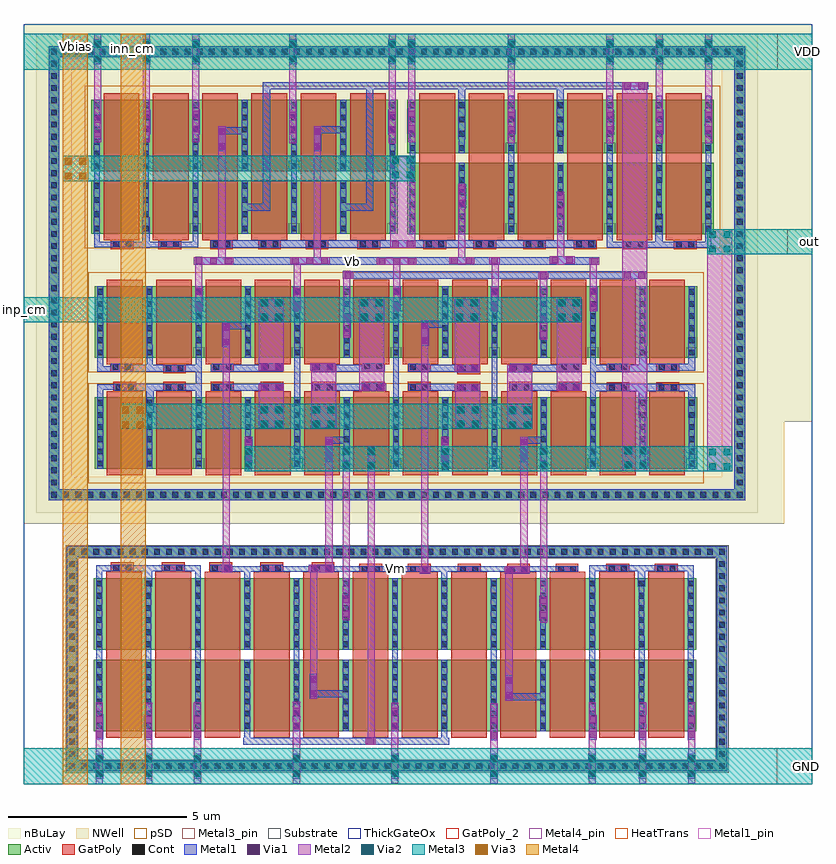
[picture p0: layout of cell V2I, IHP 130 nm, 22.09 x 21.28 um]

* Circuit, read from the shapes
.subckt V2I GND VDD Vb Vbias Vm inn_cm inp_cm out
XM1 GND GND GND GND sg13_hv_nmos w=2u l=1u m=8
XM2 out Vm GND GND sg13_hv_nmos w=2u l=1u m=8
XM3 Vm Vm GND GND sg13_hv_nmos w=2u l=1u m=8
XM4 VDD VDD VDD VDD sg13_hv_pmos w=1.5u l=1u m=4
XM5 VDD VDD VDD VDD sg13_hv_pmos w=2u l=1u m=4
XM6 Vb Vb Vb VDD sg13_hv_pmos w=2u l=1u m=8
XM7 out Vbias VDD VDD sg13_hv_pmos w=1.5u l=1u m=8
XM8 Vb Vbias VDD VDD sg13_hv_pmos w=2u l=1u m=8
XM9 out inn_cm Vb VDD sg13_hv_pmos w=2u l=1u m=8
XM10 Vm inp_cm Vb VDD sg13_hv_pmos w=2u l=1u m=8
.ends

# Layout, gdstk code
from math import pi, radians
import gdstk
lib = gdstk.Library(unit=1e-6, precision=1e-09)
def R(c, l, rs):  # rectangles x0, y0, x1, y1
    for r in rs: c.add(gdstk.rectangle(r[:2], r[2:], *l))
def A(c, l, x, y, w, h, nx, ny, dx, dy):  # array of equal rectangles
    R(c, l, [(x+i*dx, y+j*dy, x+i*dx+w, y+j*dy+h) for i in range(nx) for j in range(ny)])
def P(c, l, *ps):  # polygons
    for p in ps: c.add(gdstk.Polygon(p, *l))
Activ = (1, 0)
GatPoly = (5, 0)
GatPoly_2 = (5, 2)
Cont = (6, 0)
Metal1 = (8, 0)
Metal1_pin = (8, 2)
Metal2 = (10, 0)
pSD = (14, 0)
Via1 = (19, 0)
Via2 = (29, 0)
Metal3 = (30, 0)
Metal3_pin = (30, 2)
NWell = (31, 0)
nBuLay = (32, 0)
Substrate = (40, 0)
ThickGateOx = (44, 0)
Via3 = (49, 0)
Metal4 = (50, 0)
Metal4_pin = (50, 2)
HeatTrans = (51, 0)

pmoshv_8 = lib.new_cell('pmosHV$8')
A(pmoshv_8, Activ, 0, 0, 0.3, 0.3, 3, 1, 1.38, 0)
R(pmoshv_8, Activ, [(0,0,3.06,2)])
R(pmoshv_8, GatPoly, [(0.34,-0.18,1.34,2.18), (1.72,-0.18,2.72,2.18)])
R(pmoshv_8, GatPoly_2, [(0.34,-0.18,1.34,2.18)])
A(pmoshv_8, Cont, 0.07, 0.07, 0.16, 0.16, 3, 6, 1.38, 0.34)
A(pmoshv_8, Metal1, 0.07, 0, 0.16, 2, 3, 1, 1.38, 0)
R(pmoshv_8, Metal1_pin, [(0.07,0,0.23,2), (1.45,0,1.61,2)])
R(pmoshv_8, pSD, [(-0.18,-0.4,3.24,2.4)])
R(pmoshv_8, NWell, [(-0.62,-0.62,3.68,2.62)])
R(pmoshv_8, Substrate, [(2.76,0,3.06,0.3)])
R(pmoshv_8, ThickGateOx, [(-0.62,-0.62,3.68,2.62)])
R(pmoshv_8, HeatTrans, [(0.34,-0.18,1.34,2.18), (1.72,-0.18,2.72,2.18)])
pmoshv_8.add(gdstk.Label('pmosHV', (0.84,1), layer=63, texttype=0))
pmoshv_8.add(gdstk.Label('pmos', (0.84,1), layer=51, texttype=0))
pmoshv_8.add(gdstk.Label('pmos', (2.22,1), layer=51, texttype=0))

pmoshv_9 = lib.new_cell('pmosHV$9')
A(pmoshv_9, Activ, 0, 0, 0.3, 0.3, 3, 1, 1.38, 0)
R(pmoshv_9, Activ, [(0,0,3.06,1.5)])
R(pmoshv_9, GatPoly, [(0.34,-0.18,1.34,1.68), (1.72,-0.18,2.72,1.68)])
R(pmoshv_9, GatPoly_2, [(0.34,-0.18,1.34,1.68)])
A(pmoshv_9, Cont, 0.07, 0.07, 0.16, 0.16, 3, 4, 1.38, 0.4)
A(pmoshv_9, Metal1, 0.07, 0, 0.16, 1.5, 3, 1, 1.38, 0)
R(pmoshv_9, Metal1_pin, [(0.07,0,0.23,1.5), (1.45,0,1.61,1.5)])
R(pmoshv_9, pSD, [(-0.18,-0.4,3.24,1.9)])
R(pmoshv_9, NWell, [(-0.62,-0.62,3.68,2.12)])
R(pmoshv_9, Substrate, [(2.76,0,3.06,0.3)])
R(pmoshv_9, ThickGateOx, [(-0.62,-0.62,3.68,2.12)])
R(pmoshv_9, HeatTrans, [(0.34,-0.18,1.34,1.68), (1.72,-0.18,2.72,1.68)])
pmoshv_9.add(gdstk.Label('pmosHV', (0.84,0.75), layer=63, texttype=0))
pmoshv_9.add(gdstk.Label('pmos', (0.84,0.75), layer=51, texttype=0))
pmoshv_9.add(gdstk.Label('pmos', (2.22,0.75), layer=51, texttype=0))

nmoshv_8 = lib.new_cell('nmosHV$8')
A(nmoshv_8, Activ, 0, 0, 0.3, 0.3, 3, 1, 1.38, 0)
R(nmoshv_8, Activ, [(0,0,3.06,2)])
R(nmoshv_8, GatPoly, [(0.34,-0.18,1.34,2.18), (1.72,-0.18,2.72,2.18)])
R(nmoshv_8, GatPoly_2, [(0.34,-0.18,1.34,2.18)])
A(nmoshv_8, Cont, 0.07, 0.07, 0.16, 0.16, 3, 6, 1.38, 0.34)
A(nmoshv_8, Metal1, 0.07, 0, 0.16, 2, 3, 1, 1.38, 0)
R(nmoshv_8, Metal1_pin, [(0.07,0,0.23,2), (1.45,0,1.61,2)])
R(nmoshv_8, ThickGateOx, [(-0.27,-0.52,3.33,2.52)])
R(nmoshv_8, HeatTrans, [(0.34,-0.18,1.34,2.18), (1.72,-0.18,2.72,2.18)])
nmoshv_8.add(gdstk.Label('nmosHV', (0.84,1), layer=63, texttype=0))
nmoshv_8.add(gdstk.Label('nmosHV', (0.84,1), layer=51, texttype=0))
nmoshv_8.add(gdstk.Label('nmosHV', (2.22,1), layer=51, texttype=0))

via_22 = lib.new_cell('Via$22')
R(via_22, Metal1, [(-0.35,-0.105,0.35,0.105)])
R(via_22, Metal2, [(-0.35,-0.1,0.35,0.1)])
R(via_22, Via1, [(-0.3,-0.095,-0.11,0.095), (0.11,-0.095,0.3,0.095)])

via_23 = lib.new_cell('Via$23')
R(via_23, Metal2, [(-0.35,-0.305,0.35,0.305)])
R(via_23, Via2, [(-0.3,-0.3,-0.11,-0.11), (0.11,-0.3,0.3,-0.11), (-0.3,0.11,-0.11,0.3), (0.11,0.11,0.3,0.3)])
R(via_23, Metal3, [(-0.35,-0.305,0.35,0.305)])

via_24 = lib.new_cell('Via$24')
R(via_24, Metal1, [(-0.555,-0.105,0.555,0.105)])
R(via_24, Metal2, [(-0.555,-0.1,0.555,0.1)])
A(via_24, Via1, -0.505, -0.095, 0.19, 0.19, 3, 1, 0.41, 0)

guard_ring_4 = lib.new_cell('guard_ring$4')
R(guard_ring_4, Activ, [(-9.75,-6.05,-9.45,6.05), (9.45,-6.05,9.75,6.05), (-9.75,6.05,9.75,6.35)])
P(guard_ring_4, Activ, [(-9.75,-6.35),(-9.75,6.05),(-9.45,6.05),(-9.45,-6.05),(9.45,-6.05),(9.45,6.05),(-9.75,6.05),(-9.75,6.35),(9.75,6.35),(9.75,-6.35)])
A(guard_ring_4, Cont, -9.68, -6.28, 0.16, 0.16, 28, 2, 0.34, 12.4)
A(guard_ring_4, Cont, 0, -6.28, 0.16, 0.16, 29, 2, 0.34, 12.4)
A(guard_ring_4, Cont, -9.68, -5.94, 0.16, 0.16, 1, 17, 0, 0.34)
A(guard_ring_4, Cont, 9.52, -5.94, 0.16, 0.16, 1, 17, 0, 0.34)
A(guard_ring_4, Cont, -9.68, 0, 0.16, 0.16, 1, 18, 0, 0.34)
A(guard_ring_4, Cont, 9.52, 0, 0.16, 0.16, 1, 18, 0, 0.34)
R(guard_ring_4, Metal1, [(-9.75,-6.35,9.75,-6.05), (-9.75,-6.05,-9.45,6.05), (9.45,-6.05,9.75,6.05), (-9.75,6.05,9.75,6.35)])
R(guard_ring_4, NWell, [(-10.1,-6.7,10.1,6.7)])
R(guard_ring_4, nBuLay, [(-10.1,-5.7,-9.1,5.7), (9.1,-5.7,10.1,5.7), (-10.1,5.7,10.1,6.7)])
P(guard_ring_4, nBuLay, [(-10.1,-6.7),(-10.1,5.7),(-9.1,5.7),(-9.1,-5.7),(9.1,-5.7),(9.1,5.7),(-10.1,5.7),(-10.1,6.7),(10.1,6.7),(10.1,-6.7)])
guard_ring_4.add(gdstk.Label('well', (0,-6.2), layer=63, texttype=0))

guard_ring_5 = lib.new_cell('guard_ring$5')
R(guard_ring_5, Activ, [(-9.25,-2.85,-8.95,2.85), (8.95,-2.85,9.25,2.85), (-9.25,2.85,9.25,3.15)])
P(guard_ring_5, Activ, [(-9.25,-3.15),(-9.25,2.85),(-8.95,2.85),(-8.95,-2.85),(8.95,-2.85),(8.95,2.85),(-9.25,2.85),(-9.25,3.15),(9.25,3.15),(9.25,-3.15)])
A(guard_ring_5, Cont, -9.18, -3.08, 0.16, 0.16, 27, 2, 0.34, 6)
A(guard_ring_5, Cont, 0.18, -3.08, 0.16, 0.16, 27, 2, 0.34, 6)
A(guard_ring_5, Cont, -9.18, -2.74, 0.16, 0.16, 1, 8, 0, 0.34)
A(guard_ring_5, Cont, 9.02, -2.74, 0.16, 0.16, 1, 8, 0, 0.34)
A(guard_ring_5, Cont, -9.18, 0.2, 0.16, 0.16, 1, 8, 0, 0.34)
A(guard_ring_5, Cont, 9.02, 0.2, 0.16, 0.16, 1, 8, 0, 0.34)
R(guard_ring_5, Metal1, [(-9.25,-3.15,9.25,-2.85), (-9.25,-2.85,-8.95,2.85), (8.95,-2.85,9.25,2.85), (-9.25,2.85,9.25,3.15)])
R(guard_ring_5, pSD, [(-9.28,-2.82,-8.92,2.82), (8.92,-2.82,9.28,2.82), (-9.28,2.82,9.28,3.18)])
P(guard_ring_5, pSD, [(-9.28,-3.18),(-9.28,2.82),(-8.92,2.82),(-8.92,-2.82),(8.92,-2.82),(8.92,2.82),(-9.28,2.82),(-9.28,3.18),(9.28,3.18),(9.28,-3.18)])
R(guard_ring_5, Substrate, [(-9.28,-2.82,-8.92,2.82), (8.92,-2.82,9.28,2.82), (-9.28,2.82,9.28,3.18)])
P(guard_ring_5, Substrate, [(-9.28,-3.18),(-9.28,2.82),(-8.92,2.82),(-8.92,-2.82),(8.92,-2.82),(8.92,2.82),(-9.28,2.82),(-9.28,3.18),(9.28,3.18),(9.28,-3.18)])
guard_ring_5.add(gdstk.Label('sub!', (0,-3), layer=63, texttype=0))

via_25 = lib.new_cell('Via$25')
R(via_25, Metal1, [(-0.105,-0.35,0.105,0.35)])
R(via_25, Metal2, [(-0.1,-0.35,0.1,0.35)])
R(via_25, Via1, [(-0.095,-0.3,0.095,-0.11), (-0.095,0.11,0.095,0.3)])

via_26 = lib.new_cell('Via$26')
R(via_26, Metal2, [(-0.1,-0.35,0.1,0.35)])
R(via_26, Via2, [(-0.095,-0.3,0.095,-0.11), (-0.095,0.11,0.095,0.3)])
R(via_26, Metal3, [(-0.1,-0.35,0.1,0.35)])

via_27 = lib.new_cell('Via$27')
R(via_27, GatPoly, [(-0.15,-0.32,0.15,0.32)])
R(via_27, Cont, [(-0.08,-0.25,0.08,-0.09), (-0.08,0.09,0.08,0.25)])
R(via_27, Metal1, [(-0.08,-0.3,0.08,0.3)])

via_28 = lib.new_cell('Via$28')
R(via_28, Metal1, [(-0.145,-0.105,0.145,0.105)])
R(via_28, Metal2, [(-0.145,-0.1,0.145,0.1)])
R(via_28, Via1, [(-0.095,-0.095,0.095,0.095)])

via_29 = lib.new_cell('Via$29')
R(via_29, Metal3, [(-0.35,-0.305,0.35,0.305)])
R(via_29, Via3, [(-0.3,-0.3,-0.11,-0.11), (0.11,-0.3,0.3,-0.11), (-0.3,0.11,-0.11,0.3), (0.11,0.11,0.3,0.3)])
R(via_29, Metal4, [(-0.35,-0.305,0.35,0.305)])

v2i = lib.new_cell('V2I')
R(v2i, Metal1, [(12.955,14.04,13.515,14.24)])
R(v2i, Metal2, [(13.105,13.045,13.305,14.25), (10.35,13.055,10.55,14.235)])
R(v2i, Metal3_pin, [(21.09,-0.5,22.085,0.5), (0,12.42,0.74,13.12), (21.385,14.33,22.085,15.03), (21.105,19.5,22.085,20.5)])
R(v2i, NWell, [(0,6.78,21.3,20.775), (21.3,9.635,22.085,20.775)])
R(v2i, ThickGateOx, [(0,-0.5,22.085,20.775)])
R(v2i, Metal4_pin, [(1.1,19.8,1.8,20.5), (2.715,19.8,3.415,20.5)])
v2i.add(gdstk.FlexPath([(8.94,13.745),(17.455,13.745)], 0.2, ends="flush", simple_path=True, layer=8, datatype=0))  # Metal1
v2i.add(gdstk.FlexPath([(8.95,13.75),(16.945,13.75)], 0.2, ends="flush", simple_path=True, layer=8, datatype=0))  # Metal1
v2i.add(gdstk.FlexPath([(14.955,19.05),(17.485,19.05)], 0.2, ends="flush", simple_path=True, layer=8, datatype=0))  # Metal1
v2i.add(gdstk.FlexPath([(4.815,14.14),(16.09,14.14)], 0.2, ends="flush", simple_path=True, layer=8, datatype=0))  # Metal1
v2i.add(gdstk.FlexPath([(8.025,2.025),(9.1,2.025)], 0.2, ends="flush", simple_path=True, layer=8, datatype=0))  # Metal1
v2i.add(gdstk.FlexPath([(7.57,18.21),(7.57,15.77)], 0.16, ends="flush", simple_path=True, layer=8, datatype=0))  # Metal1
v2i.add(gdstk.FlexPath([(4.815,15.455),(4.815,14.605),(2.055,14.605),(2.055,15.435)], 0.16, ends="flush", simple_path=True, layer=8, datatype=0))  # Metal1
v2i.add(gdstk.FlexPath([(19.17,15.435),(19.17,14.595),(16.41,14.595),(16.41,15.436)], 0.16, ends="flush", simple_path=True, layer=8, datatype=0))  # Metal1
v2i.add(gdstk.FlexPath([(4.815,18.21),(4.815,15.77),(4.815,15.77)], 0.16, ends="flush", simple_path=True, layer=8, datatype=0))  # Metal1
v2i.add(gdstk.FlexPath([(5.24,14.615),(16.02,14.615)], 0.2, ends="flush", simple_path=True, layer=8, datatype=0))  # Metal1
v2i.add(gdstk.FlexPath([(6.11,15.65),(6.8,15.65),(6.8,19.05),(13.35,19.05)], 0.2, ends="flush", simple_path=True, layer=8, datatype=0))  # Metal1
v2i.add(gdstk.FlexPath([(12.27,17.55),(12.27,19.05),(15.025,19.05),(15.025,17.63)], 0.2, ends="flush", simple_path=True, layer=8, datatype=0))  # Metal1
v2i.add(gdstk.FlexPath([(10.33,18.21),(10.33,15.77)], 0.16, ends="flush", simple_path=True, layer=8, datatype=0))  # Metal1
v2i.add(gdstk.FlexPath([(10.885,18.655),(10.885,16.215)], 0.16, ends="flush", simple_path=True, layer=8, datatype=0))  # Metal1
v2i.add(gdstk.FlexPath([(13.65,18.77),(13.65,16.33)], 0.16, ends="flush", simple_path=True, layer=8, datatype=0))  # Metal1
v2i.add(gdstk.FlexPath([(16.41,18.77),(16.41,16.33)], 0.16, ends="flush", simple_path=True, layer=8, datatype=0))  # Metal1
v2i.add(gdstk.FlexPath([(8.12,17.81),(9.03,17.81),(9.03,17.81),(9.03,17.81)], 0.2, ends="flush", simple_path=True, layer=8, datatype=0))  # Metal1
v2i.add(gdstk.FlexPath([(5.445,17.785),(6.27,17.785)], 0.2, ends="flush", simple_path=True, layer=8, datatype=0))  # Metal1
v2i.add(gdstk.FlexPath([(8.87,15.65),(9.695,15.65),(9.695,19.045)], 0.2, ends="flush", simple_path=True, layer=8, datatype=0))  # Metal1
v2i.add(gdstk.FlexPath([(3.425,18.21),(3.425,15.77),(3.425,15.77)], 0.16, ends="flush", simple_path=True, layer=8, datatype=0))  # Metal1
v2i.add(gdstk.FlexPath([(2.06,18.21),(2.06,15.77),(2.06,15.77)], 0.16, ends="flush", simple_path=True, layer=8, datatype=0))  # Metal1
v2i.add(gdstk.FlexPath([(17.795,18.77),(17.795,16.33)], 0.16, ends="flush", simple_path=True, layer=8, datatype=0))  # Metal1
v2i.add(gdstk.FlexPath([(19.175,18.77),(19.175,16.33)], 0.16, ends="flush", simple_path=True, layer=8, datatype=0))  # Metal1
v2i.add(gdstk.FlexPath([(3.43,15.37),(3.43,14.515)], 0.2, ends="flush", simple_path=True, layer=8, datatype=0))  # Metal1
v2i.add(gdstk.FlexPath([(17.79,15.465),(17.79,14.515)], 0.2, ends="flush", simple_path=True, layer=8, datatype=0))  # Metal1
v2i.add(gdstk.FlexPath([(2.12,4.7),(2.12,5.54),(4.88,5.54),(4.88,4.699)], 0.16, ends="flush", simple_path=True, layer=8, datatype=0))  # Metal1
v2i.add(gdstk.FlexPath([(15.92,4.7),(15.92,5.54),(18.68,5.54),(18.68,4.699)], 0.16, ends="flush", simple_path=True, layer=8, datatype=0))  # Metal1
v2i.add(gdstk.FlexPath([(4.88,3.61),(4.88,2.42)], 0.16, ends="extended", simple_path=True, layer=8, datatype=0))  # Metal1
v2i.add(gdstk.FlexPath([(3.5,3.61),(3.5,2.42)], 0.16, ends="extended", simple_path=True, layer=8, datatype=0))  # Metal1
v2i.add(gdstk.FlexPath([(2.12,3.61),(2.12,2.42)], 0.16, ends="extended", simple_path=True, layer=8, datatype=0))  # Metal1
v2i.add(gdstk.FlexPath([(3.5,5.03),(3.5,5.62)], 0.2, ends="flush", simple_path=True, layer=8, datatype=0))  # Metal1
v2i.add(gdstk.FlexPath([(15.92,3.73),(15.92,2.54)], 0.16, ends="flush", simple_path=True, layer=8, datatype=0))  # Metal1
v2i.add(gdstk.FlexPath([(17.305,3.635),(17.305,2.445)], 0.16, ends="flush", simple_path=True, layer=8, datatype=0))  # Metal1
v2i.add(gdstk.FlexPath([(18.68,3.675),(18.68,2.485)], 0.16, ends="flush", simple_path=True, layer=8, datatype=0))  # Metal1
v2i.add(gdstk.FlexPath([(17.3,5.03),(17.3,5.62)], 0.2, ends="flush", simple_path=True, layer=8, datatype=0))  # Metal1
v2i.add(gdstk.FlexPath([(11.78,1.42),(11.78,0.625)], 0.16, ends="flush", simple_path=True, layer=8, datatype=0))  # Metal1
v2i.add(gdstk.FlexPath([(13.585,1.94),(14.62,1.94)], 0.2, ends="flush", simple_path=True, layer=8, datatype=0))  # Metal1
v2i.add(gdstk.FlexPath([(7.64,3.685),(7.64,2.495)], 0.16, ends="flush", simple_path=True, layer=8, datatype=0))  # Metal1
v2i.add(gdstk.FlexPath([(10.4,3.685),(10.4,2.495)], 0.16, ends="flush", simple_path=True, layer=8, datatype=0))  # Metal1
v2i.add(gdstk.FlexPath([(6.26,4.995),(6.26,5.6)], 0.16, ends="flush", simple_path=True, layer=8, datatype=0))  # Metal1
v2i.add(gdstk.FlexPath([(11.78,4.655),(11.78,5.6)], 0.16, ends="flush", simple_path=True, layer=8, datatype=0))  # Metal1
v2i.add(gdstk.FlexPath([(5.225,5.52),(5.735,5.52),(15.535,5.52)], 0.16, ends="flush", simple_path=True, layer=8, datatype=0))  # Metal1
v2i.add(gdstk.FlexPath([(6.155,0.7),(11.92,0.7)], 0.2, ends="flush", simple_path=True, layer=8, datatype=0))  # Metal1
v2i.add(gdstk.FlexPath([(13.16,3.26),(13.16,2.07)], 0.16, ends="flush", simple_path=True, layer=8, datatype=0))  # Metal1
v2i.add(gdstk.FlexPath([(2.145,11.79),(2.145,11.12),(3.535,11.12),(3.535,11.79)], 0.16, ends="flush", simple_path=True, layer=8, datatype=0))  # Metal1
v2i.add(gdstk.FlexPath([(2.145,10.09),(2.145,10.61),(2.745,10.61)], 0.16, ends="flush", simple_path=True, layer=8, datatype=0))  # Metal1
v2i.add(gdstk.FlexPath([(3.54,9.895),(3.54,10.705)], 0.2, ends="flush", simple_path=True, layer=8, datatype=0))  # Metal1
v2i.add(gdstk.FlexPath([(5.245,11.14),(7.255,11.14)], 0.2, ends="flush", simple_path=True, layer=8, datatype=0))  # Metal1
v2i.add(gdstk.FlexPath([(8.1,11.14),(10.11,11.14)], 0.2, ends="flush", simple_path=True, layer=8, datatype=0))  # Metal1
v2i.add(gdstk.FlexPath([(10.775,11.14),(12.765,11.14)], 0.2, ends="flush", simple_path=True, layer=8, datatype=0))  # Metal1
v2i.add(gdstk.FlexPath([(13.61,11.14),(15.62,11.14)], 0.2, ends="flush", simple_path=True, layer=8, datatype=0))  # Metal1
v2i.add(gdstk.FlexPath([(5.59,12.33),(6.365,12.33)], 0.2, ends="flush", simple_path=True, layer=8, datatype=0))  # Metal1
v2i.add(gdstk.FlexPath([(11.14,12.37),(11.885,12.37)], 0.2, ends="flush", simple_path=True, layer=8, datatype=0))  # Metal1
v2i.add(gdstk.FlexPath([(13.61,10.605),(15.62,10.605)], 0.2, ends="flush", simple_path=True, layer=8, datatype=0))  # Metal1
v2i.add(gdstk.FlexPath([(10.775,10.605),(12.785,10.605)], 0.2, ends="flush", simple_path=True, layer=8, datatype=0))  # Metal1
v2i.add(gdstk.FlexPath([(8.1,10.605),(10.11,10.605)], 0.2, ends="flush", simple_path=True, layer=8, datatype=0))  # Metal1
v2i.add(gdstk.FlexPath([(5.265,10.605),(7.275,10.605)], 0.2, ends="flush", simple_path=True, layer=8, datatype=0))  # Metal1
v2i.add(gdstk.FlexPath([(8.455,9.12),(9.125,9.12)], 0.2, ends="flush", simple_path=True, layer=8, datatype=0))  # Metal1
v2i.add(gdstk.FlexPath([(13.915,9.12),(14.645,9.12)], 0.2, ends="flush", simple_path=True, layer=8, datatype=0))  # Metal1
v2i.add(gdstk.FlexPath([(4.905,12.31),(4.905,9.57)], 0.16, ends="flush", simple_path=True, layer=8, datatype=0))  # Metal1
v2i.add(gdstk.FlexPath([(7.665,12.31),(7.665,9.57)], 0.16, ends="flush", simple_path=True, layer=8, datatype=0))  # Metal1
v2i.add(gdstk.FlexPath([(10.425,12.31),(10.425,9.57)], 0.16, ends="flush", simple_path=True, layer=8, datatype=0))  # Metal1
v2i.add(gdstk.FlexPath([(13.185,12.31),(13.185,9.575)], 0.16, ends="flush", simple_path=True, layer=8, datatype=0))  # Metal1
v2i.add(gdstk.FlexPath([(15.945,12.31),(15.945,9.57)], 0.16, ends="flush", simple_path=True, layer=8, datatype=0))  # Metal1
v2i.add(gdstk.FlexPath([(2.535,10.605),(4.545,10.605)], 0.2, ends="flush", simple_path=True, layer=8, datatype=0))  # Metal1
v2i.add(gdstk.FlexPath([(2.98,11.14),(4.99,11.14)], 0.2, ends="flush", simple_path=True, layer=8, datatype=0))  # Metal1
v2i.add(gdstk.FlexPath([(15.86,11.14),(17.87,11.14)], 0.2, ends="flush", simple_path=True, layer=8, datatype=0))  # Metal1
v2i.add(gdstk.FlexPath([(15.865,10.6),(17.875,10.6)], 0.2, ends="flush", simple_path=True, layer=8, datatype=0))  # Metal1
v2i.add(gdstk.FlexPath([(18.705,9.75),(18.705,10.595),(17.325,10.595),(17.325,9.75),(17.325,9.75)], 0.2, ends="flush", simple_path=True, layer=8, datatype=0))  # Metal1
v2i.add(gdstk.FlexPath([(18.705,12),(18.705,11.17),(17.335,11.17),(17.335,11.755)], 0.2, ends="flush", simple_path=True, layer=8, datatype=0))  # Metal1
v2i.add(gdstk.FlexPath([(4.395,10.605),(4.985,10.605)], 0.2, ends="flush", simple_path=True, layer=8, datatype=0))  # Metal1
v2i.add(gdstk.FlexPath([(6.26,2.07),(6.26,0.6)], 0.16, ends="flush", simple_path=True, layer=8, datatype=0))  # Metal1
v2i.add(gdstk.FlexPath([(2.12,1.785),(2.12,-0.5)], 0.2, ends="flush", simple_path=True, layer=10, datatype=0))  # Metal2
v2i.add(gdstk.FlexPath([(8.225,14.05),(8.225,17.815)], 0.2, ends="flush", simple_path=True, layer=10, datatype=0))  # Metal2
v2i.add(gdstk.FlexPath([(17.105,19.15),(17.105,8.26)], 0.7, ends="flush", simple_path=True, layer=10, datatype=0))  # Metal2
v2i.add(gdstk.FlexPath([(13.895,11.235),(13.895,9.45),(13.895,9.45)], 0.7, ends="flush", simple_path=True, layer=10, datatype=0))  # Metal2
v2i.add(gdstk.FlexPath([(9.745,10.495),(9.745,12.92)], 0.7, ends="flush", simple_path=True, layer=10, datatype=0))  # Metal2
v2i.add(gdstk.FlexPath([(3.5,1.78),(3.5,-0.495)], 0.2, ends="flush", simple_path=True, layer=10, datatype=0))  # Metal2
v2i.add(gdstk.FlexPath([(9.03,8.91),(9.03,4.09)], 0.2, ends="flush", simple_path=True, layer=10, datatype=0))  # Metal2
v2i.add(gdstk.FlexPath([(10.62,14.545),(10.62,16.97)], 0.7, ends="flush", simple_path=True, layer=10, datatype=0))  # Metal2
v2i.add(gdstk.FlexPath([(9.05,12.165),(9.05,13.87)], 0.2, ends="flush", simple_path=True, layer=10, datatype=0))  # Metal2
v2i.add(gdstk.FlexPath([(6.94,11.07),(6.94,12.935)], 0.7, ends="flush", simple_path=True, layer=10, datatype=0))  # Metal2
v2i.add(gdstk.FlexPath([(12.42,11.07),(12.42,12.935)], 0.7, ends="flush", simple_path=True, layer=10, datatype=0))  # Metal2
v2i.add(gdstk.FlexPath([(15.27,10.515),(15.27,12.94)], 0.7, ends="flush", simple_path=True, layer=10, datatype=0))  # Metal2
v2i.add(gdstk.FlexPath([(6.94,10.71),(6.94,9.65)], 0.7, ends="flush", simple_path=True, layer=10, datatype=0))  # Metal2
v2i.add(gdstk.FlexPath([(12.44,10.71),(12.44,9.65)], 0.7, ends="flush", simple_path=True, layer=10, datatype=0))  # Metal2
v2i.add(gdstk.FlexPath([(8.4,11.26),(8.4,9.63)], 0.7, ends="flush", simple_path=True, layer=10, datatype=0))  # Metal2
v2i.add(gdstk.FlexPath([(5.555,14.04),(5.555,17.835)], 0.2, ends="flush", simple_path=True, layer=10, datatype=0))  # Metal2
v2i.add(gdstk.FlexPath([(4.87,1.79),(4.87,-0.495)], 0.2, ends="flush", simple_path=True, layer=10, datatype=0))  # Metal2
v2i.add(gdstk.FlexPath([(15.92,1.785),(15.92,-0.495)], 0.2, ends="flush", simple_path=True, layer=10, datatype=0))  # Metal2
v2i.add(gdstk.FlexPath([(17.33,1.785),(17.33,-0.495)], 0.2, ends="flush", simple_path=True, layer=10, datatype=0))  # Metal2
v2i.add(gdstk.FlexPath([(18.705,1.795),(18.705,-0.495)], 0.2, ends="flush", simple_path=True, layer=10, datatype=0))  # Metal2
v2i.add(gdstk.FlexPath([(7.64,1.805),(7.64,-0.495)], 0.2, ends="flush", simple_path=True, layer=10, datatype=0))  # Metal2
v2i.add(gdstk.FlexPath([(10.395,1.775),(10.395,-0.485)], 0.2, ends="flush", simple_path=True, layer=10, datatype=0))  # Metal2
v2i.add(gdstk.FlexPath([(13.17,1.76),(13.17,-0.495)], 0.2, ends="flush", simple_path=True, layer=10, datatype=0))  # Metal2
v2i.add(gdstk.FlexPath([(8.125,5.635),(8.125,1.88)], 0.2, ends="flush", simple_path=True, layer=10, datatype=0))  # Metal2
v2i.add(gdstk.FlexPath([(13.59,5.6),(13.59,1.835)], 0.2, ends="flush", simple_path=True, layer=10, datatype=0))  # Metal2
v2i.add(gdstk.FlexPath([(8.55,9.22),(8.55,5.435)], 0.2, ends="flush", simple_path=True, layer=10, datatype=0))  # Metal2
v2i.add(gdstk.FlexPath([(14.01,9.22),(14.01,5.4)], 0.2, ends="flush", simple_path=True, layer=10, datatype=0))  # Metal2
v2i.add(gdstk.FlexPath([(5.67,12.38),(5.67,5.43)], 0.2, ends="flush", simple_path=True, layer=10, datatype=0))  # Metal2
v2i.add(gdstk.FlexPath([(11.235,12.47),(11.235,5.395)], 0.2, ends="flush", simple_path=True, layer=10, datatype=0))  # Metal2
v2i.add(gdstk.FlexPath([(14.565,8.89),(14.565,4.015)], 0.2, ends="flush", simple_path=True, layer=10, datatype=0))  # Metal2
v2i.add(gdstk.FlexPath([(9.73,8.96),(9.73,0.595)], 0.2, ends="flush", simple_path=True, layer=10, datatype=0))  # Metal2
v2i.add(gdstk.FlexPath([(14.555,12.145),(14.555,13.85)], 0.2, ends="flush", simple_path=True, layer=10, datatype=0))  # Metal2
v2i.add(gdstk.FlexPath([(4.905,13.005),(4.905,14.265)], 0.2, ends="flush", simple_path=True, layer=10, datatype=0))  # Metal2
v2i.add(gdstk.FlexPath([(7.66,13),(7.66,14.25)], 0.2, ends="flush", simple_path=True, layer=10, datatype=0))  # Metal2
v2i.add(gdstk.FlexPath([(15.95,14.23),(15.95,13.015)], 0.2, ends="flush", simple_path=True, layer=10, datatype=0))  # Metal2
v2i.add(gdstk.FlexPath([(12.27,15.93),(12.27,14.135)], 0.2, ends="flush", simple_path=True, layer=10, datatype=0))  # Metal2
v2i.add(gdstk.FlexPath([(15.035,15.83),(15.035,14.035)], 0.2, ends="flush", simple_path=True, layer=10, datatype=0))  # Metal2
v2i.add(gdstk.FlexPath([(2.075,20.5),(2.075,17.46)], 0.2, ends="flush", simple_path=True, layer=10, datatype=0))  # Metal2
v2i.add(gdstk.FlexPath([(3.44,20.5),(3.44,17.46)], 0.2, ends="flush", simple_path=True, layer=10, datatype=0))  # Metal2
v2i.add(gdstk.FlexPath([(4.825,20.5),(4.825,17.46)], 0.2, ends="flush", simple_path=True, layer=10, datatype=0))  # Metal2
v2i.add(gdstk.FlexPath([(7.54,20.5),(7.54,17.44)], 0.2, ends="flush", simple_path=True, layer=10, datatype=0))  # Metal2
v2i.add(gdstk.FlexPath([(10.32,20.5),(10.32,17.42)], 0.2, ends="flush", simple_path=True, layer=10, datatype=0))  # Metal2
v2i.add(gdstk.FlexPath([(10.865,20.5),(10.865,17.47)], 0.2, ends="flush", simple_path=True, layer=10, datatype=0))  # Metal2
v2i.add(gdstk.FlexPath([(13.655,20.5),(13.655,17.44)], 0.2, ends="flush", simple_path=True, layer=10, datatype=0))  # Metal2
v2i.add(gdstk.FlexPath([(16.415,20.5),(16.415,17.44)], 0.2, ends="flush", simple_path=True, layer=10, datatype=0))  # Metal2
v2i.add(gdstk.FlexPath([(17.8,20.5),(17.8,17.44)], 0.2, ends="flush", simple_path=True, layer=10, datatype=0))  # Metal2
v2i.add(gdstk.FlexPath([(19.18,20.5),(19.18,17.44)], 0.2, ends="flush", simple_path=True, layer=10, datatype=0))  # Metal2
v2i.add(gdstk.FlexPath([(6.295,9.22),(6.295,8.305)], 0.2, ends="flush", simple_path=True, layer=10, datatype=0))  # Metal2
v2i.add(gdstk.FlexPath([(11.805,9.205),(11.805,8.25)], 0.2, ends="flush", simple_path=True, layer=10, datatype=0))  # Metal2
v2i.add(gdstk.FlexPath([(19.49,8.26),(19.49,15.03)], 0.7, ends="flush", simple_path=True, layer=10, datatype=0))  # Metal2
v2i.add(gdstk.FlexPath([(0,20),(22.085,20)], 1, ends="flush", simple_path=True, layer=30, datatype=0))  # Metal3
v2i.add(gdstk.FlexPath([(0,0),(22.085,0)], 1, ends="flush", simple_path=True, layer=30, datatype=0))  # Metal3
v2i.add(gdstk.FlexPath([(22.085,14.68),(19.14,14.68)], 0.7, ends="flush", simple_path=True, layer=30, datatype=0))  # Metal3
v2i.add(gdstk.FlexPath([(0,12.77),(15.615,12.77)], 0.7, ends="flush", simple_path=True, layer=30, datatype=0))  # Metal3
v2i.add(gdstk.FlexPath([(1.1,16.73),(10.97,16.73)], 0.7, ends="flush", simple_path=True, layer=30, datatype=0))  # Metal3
v2i.add(gdstk.FlexPath([(2.715,9.8),(14.245,9.8)], 0.7, ends="flush", simple_path=True, layer=30, datatype=0))  # Metal3
v2i.add(gdstk.FlexPath([(6.205,8.61),(19.84,8.61)], 0.7, ends="flush", simple_path=True, layer=30, datatype=0))  # Metal3
v2i.add(gdstk.FlexPath([(1.45,20.5),(1.45,-0.5)], 0.7, ends="flush", simple_path=True, layer=50, datatype=0))  # Metal4
v2i.add(gdstk.FlexPath([(3.065,20.5),(3.065,-0.5)], 0.7, ends="flush", simple_path=True, layer=50, datatype=0))  # Metal4
v2i.add(gdstk.Reference(pmoshv_8, (10.275,8.32)))
v2i.add(gdstk.Reference(pmoshv_8, (10.275,11.43)))
v2i.add(gdstk.Reference(pmoshv_9, (10.74,17.15)))
v2i.add(gdstk.Reference(pmoshv_8, (10.74,14.895)))
v2i.add(gdstk.Reference(pmoshv_8, (13.035,8.32)))
v2i.add(gdstk.Reference(pmoshv_8, (4.755,8.32)))
v2i.add(gdstk.Reference(pmoshv_8, (7.515,8.32)))
v2i.add(gdstk.Reference(nmoshv_8, (10.25,3.26)))
v2i.add(gdstk.Reference(nmoshv_8, (10.25,0.98)))
v2i.add(gdstk.Reference(pmoshv_8, (1.995,8.32)))
v2i.add(gdstk.Reference(pmoshv_8, (15.795,8.32)))
v2i.add(gdstk.Reference(pmoshv_9, (7.42,14.9)))
v2i.add(gdstk.Reference(pmoshv_8, (7.42,16.65)))
v2i.add(gdstk.Reference(pmoshv_8, (7.515,11.43)))
v2i.add(gdstk.Reference(via_22, (10.62,14.61), rotation=pi))
v2i.add(gdstk.Reference(via_23, (10.62,16.755)))
v2i.add(gdstk.Reference(nmoshv_8, (7.49,0.98)))
v2i.add(gdstk.Reference(nmoshv_8, (7.49,3.26)))
v2i.add(gdstk.Reference(via_24, (10.445,14.135)))
v2i.add(gdstk.Reference(guard_ring_4, (10.45,13.8)))
v2i.add(gdstk.Reference(via_23, (8.4,9.775)))
v2i.add(gdstk.Reference(via_23, (6.94,9.775)))
v2i.add(gdstk.Reference(via_23, (12.445,9.775)))
v2i.add(gdstk.Reference(guard_ring_5, (10.455,3)))
v2i.add(gdstk.Reference(via_25, (10.45,13.08)))
v2i.add(gdstk.Reference(via_25, (10.395,0)))
v2i.add(gdstk.Reference(via_25, (10.395,1.33)))
v2i.add(gdstk.Reference(via_26, (10.395,0)))
v2i.add(gdstk.Reference(via_25, (13.655,18.02)))
v2i.add(gdstk.Reference(via_27, (13.91,11.18), rotation=3*pi/2))
v2i.add(gdstk.Reference(via_26, (17.8,20)))
v2i.add(gdstk.Reference(pmoshv_8, (13.5,14.895)))
v2i.add(gdstk.Reference(via_27, (16.645,11.18), rotation=3*pi/2))
v2i.add(gdstk.Reference(via_27, (18.035,11.18), rotation=3*pi/2))
v2i.add(gdstk.Reference(via_27, (14.305,14.615), rotation=3*pi/2))
v2i.add(gdstk.Reference(via_25, (16.415,18.02)))
v2i.add(gdstk.Reference(via_26, (19.18,20)))
v2i.add(gdstk.Reference(pmoshv_8, (13.035,11.43)))
v2i.add(gdstk.Reference(via_27, (15.72,14.615), rotation=3*pi/2))
v2i.add(gdstk.Reference(via_23, (15.27,12.77)))
v2i.add(gdstk.Reference(via_28, (14.55,13.73)))
v2i.add(gdstk.Reference(via_22, (13.895,11.135)))
v2i.add(gdstk.Reference(via_25, (15.035,15.735)))
v2i.add(gdstk.Reference(via_22, (15.08,14.17)))
v2i.add(gdstk.Reference(via_22, (12.265,14.145)))
v2i.add(gdstk.Reference(via_25, (12.27,15.96)))
v2i.add(gdstk.Reference(via_27, (13.91,10.605), rotation=3*pi/2))
v2i.add(gdstk.Reference(via_27, (15.3,10.605), rotation=3*pi/2))
v2i.add(gdstk.Reference(via_27, (12.465,11.115), rotation=3*pi/2))
v2i.add(gdstk.Reference(via_27, (12.465,10.605), rotation=3*pi/2))
v2i.add(gdstk.Reference(via_27, (16.64,10.6), rotation=3*pi/2))
v2i.add(gdstk.Reference(via_22, (15.27,10.615)))
v2i.add(gdstk.Reference(via_22, (12.425,10.6)))
v2i.add(gdstk.Reference(via_27, (18.03,10.6), rotation=3*pi/2))
v2i.add(gdstk.Reference(via_23, (12.41,12.77)))
v2i.add(gdstk.Reference(via_22, (12.425,11.135)))
v2i.add(gdstk.Reference(via_27, (11.515,14.615), rotation=3*pi/2))
v2i.add(gdstk.Reference(via_27, (11.075,11.18), rotation=3*pi/2))
v2i.add(gdstk.Reference(via_25, (10.865,18.05)))
v2i.add(gdstk.Reference(via_25, (15.95,13.08)))
v2i.add(gdstk.Reference(via_22, (17.105,19.045), rotation=pi))
v2i.add(gdstk.Reference(via_27, (11.075,10.605), rotation=3*pi/2))
v2i.add(gdstk.Reference(via_25, (11.235,12.12)))
v2i.add(gdstk.Reference(via_22, (13.19,13.08), rotation=3*pi/2))
v2i.add(gdstk.Reference(via_22, (14.56,12.285), rotation=3*pi/2))
v2i.add(gdstk.Reference(via_27, (15.3,11.18), rotation=3*pi/2))
v2i.add(gdstk.Reference(via_28, (13.185,14.145)))
v2i.add(gdstk.Reference(via_26, (10.865,20)))
v2i.add(gdstk.Reference(via_28, (15.975,14.135)))
v2i.add(gdstk.Reference(pmoshv_9, (16.26,17.15)))
v2i.add(gdstk.Reference(pmoshv_8, (16.26,14.895)))
v2i.add(gdstk.Reference(via_27, (12.915,14.615), rotation=3*pi/2))
v2i.add(gdstk.Reference(pmoshv_8, (15.795,11.43)))
v2i.add(gdstk.Reference(pmoshv_9, (13.5,17.15)))
v2i.add(gdstk.Reference(via_25, (17.8,18.02)))
v2i.add(gdstk.Reference(via_25, (19.18,18.02)))
v2i.add(gdstk.Reference(via_25, (10.865,20)))
v2i.add(gdstk.Reference(via_25, (13.655,20)))
v2i.add(gdstk.Reference(via_25, (16.415,20)))
v2i.add(gdstk.Reference(via_25, (17.8,20)))
v2i.add(gdstk.Reference(via_25, (19.18,20)))
v2i.add(gdstk.Reference(via_23, (19.49,14.68)))
v2i.add(gdstk.Reference(via_27, (17.105,14.615), rotation=3*pi/2))
v2i.add(gdstk.Reference(via_26, (16.415,20)))
v2i.add(gdstk.Reference(via_26, (13.655,20)))
v2i.add(gdstk.Reference(via_27, (18.52,14.615), rotation=3*pi/2))
v2i.add(gdstk.Reference(via_22, (17.105,13.745)))
v2i.add(gdstk.Reference(via_27, (5.565,11.18), rotation=3*pi/2))
v2i.add(gdstk.Reference(via_27, (8.4,11.18), rotation=3*pi/2))
v2i.add(gdstk.Reference(via_27, (9.79,11.195), rotation=3*pi/2))
v2i.add(gdstk.Reference(via_25, (4.905,13.08)))
v2i.add(gdstk.Reference(via_27, (5.54,14.615), rotation=3*pi/2))
v2i.add(gdstk.Reference(via_27, (6.885,14.615), rotation=3*pi/2))
v2i.add(gdstk.Reference(via_22, (6.94,11.175)))
v2i.add(gdstk.Reference(via_27, (6.955,11.18), rotation=3*pi/2))
v2i.add(gdstk.Reference(via_25, (10.32,18.02)))
v2i.add(gdstk.Reference(pmoshv_9, (4.66,14.9)))
v2i.add(gdstk.Reference(via_23, (6.94,12.77)))
v2i.add(gdstk.Reference(via_23, (9.745,12.77)))
v2i.add(gdstk.Reference(via_25, (5.555,17.56)))
v2i.add(gdstk.Reference(via_22, (7.81,14.145)))
v2i.add(gdstk.Reference(via_22, (8.375,11.175)))
v2i.add(gdstk.Reference(via_25, (7.66,13.08)))
v2i.add(gdstk.Reference(via_25, (2.075,20)))
v2i.add(gdstk.Reference(via_27, (6.955,10.605), rotation=3*pi/2))
v2i.add(gdstk.Reference(via_25, (3.44,20)))
v2i.add(gdstk.Reference(via_25, (9.05,12.34)))
v2i.add(gdstk.Reference(via_25, (8.225,17.56)))
v2i.add(gdstk.Reference(via_25, (4.825,18.04)))
v2i.add(gdstk.Reference(pmoshv_8, (4.66,16.65)))
v2i.add(gdstk.Reference(pmoshv_8, (1.9,16.65)))
v2i.add(gdstk.Reference(via_28, (9.085,13.745)))
v2i.add(gdstk.Reference(via_22, (6.94,10.61)))
v2i.add(gdstk.Reference(via_27, (8.4,10.605), rotation=3*pi/2))
v2i.add(gdstk.Reference(via_27, (9.79,10.605), rotation=3*pi/2))
v2i.add(gdstk.Reference(via_22, (9.8,10.615)))
v2i.add(gdstk.Reference(pmoshv_9, (1.9,14.9)))
v2i.add(gdstk.Reference(via_27, (2.835,10.605), rotation=3*pi/2))
v2i.add(gdstk.Reference(via_27, (4.225,10.605), rotation=3*pi/2))
v2i.add(gdstk.Reference(via_25, (5.67,12.08)))
v2i.add(gdstk.Reference(via_26, (4.825,20)))
v2i.add(gdstk.Reference(via_26, (7.54,20)))
v2i.add(gdstk.Reference(pmoshv_8, (1.995,11.43)))
v2i.add(gdstk.Reference(via_25, (3.44,18.04)))
v2i.add(gdstk.Reference(via_26, (3.44,20)))
v2i.add(gdstk.Reference(via_26, (2.075,20)))
v2i.add(gdstk.Reference(via_27, (5.565,10.605), rotation=3*pi/2))
v2i.add(gdstk.Reference(via_29, (1.455,16.725)))
v2i.add(gdstk.Reference(pmoshv_8, (4.755,11.43)))
v2i.add(gdstk.Reference(via_26, (10.32,20)))
v2i.add(gdstk.Reference(via_25, (4.825,20)))
v2i.add(gdstk.Reference(via_25, (7.54,20)))
v2i.add(gdstk.Reference(via_25, (10.32,20)))
v2i.add(gdstk.Reference(via_22, (5.115,14.14)))
v2i.add(gdstk.Reference(via_22, (8.22,14.145)))
v2i.add(gdstk.Reference(via_27, (2.765,14.615), rotation=3*pi/2))
v2i.add(gdstk.Reference(via_27, (4.095,14.615), rotation=3*pi/2))
v2i.add(gdstk.Reference(via_27, (8.215,14.615), rotation=3*pi/2))
v2i.add(gdstk.Reference(via_27, (9.665,14.615), rotation=3*pi/2))
v2i.add(gdstk.Reference(via_22, (5.525,14.14)))
v2i.add(gdstk.Reference(via_25, (7.54,18.02)))
v2i.add(gdstk.Reference(via_27, (2.745,11.18), rotation=3*pi/2))
v2i.add(gdstk.Reference(via_25, (2.075,17.905)))
v2i.add(gdstk.Reference(via_27, (4.225,11.145), rotation=3*pi/2))
v2i.add(gdstk.Reference(via_26, (9.03,8.61)))
v2i.add(gdstk.Reference(via_26, (4.87,0)))
v2i.add(gdstk.Reference(via_25, (4.87,1.095)))
v2i.add(gdstk.Reference(via_25, (3.49,1.095)))
v2i.add(gdstk.Reference(nmoshv_8, (4.73,3.26)))
v2i.add(gdstk.Reference(via_27, (8.385,5.555), rotation=3*pi/2))
v2i.add(gdstk.Reference(via_27, (4.19,5.555), rotation=3*pi/2))
v2i.add(gdstk.Reference(via_25, (8.55,8.87)))
v2i.add(gdstk.Reference(via_27, (2.765,5.555), rotation=3*pi/2))
v2i.add(gdstk.Reference(via_25, (2.12,0)))
v2i.add(gdstk.Reference(via_28, (9.72,0.7)))
v2i.add(gdstk.Reference(via_29, (3.06,9.755)))
v2i.add(gdstk.Reference(via_26, (9.73,8.61)))
v2i.add(gdstk.Reference(via_22, (2.12,1.1), rotation=3*pi/2))
v2i.add(gdstk.Reference(via_26, (2.12,0)))
v2i.add(gdstk.Reference(via_25, (3.5,0)))
v2i.add(gdstk.Reference(via_25, (4.87,0)))
v2i.add(gdstk.Reference(via_25, (7.64,0)))
v2i.add(gdstk.Reference(via_28, (5.7,5.535)))
v2i.add(gdstk.Reference(via_27, (6.95,5.555), rotation=3*pi/2))
v2i.add(gdstk.Reference(via_25, (9.02,4.465)))
v2i.add(gdstk.Reference(via_22, (8.335,5.53)))
v2i.add(gdstk.Reference(via_26, (7.64,0)))
v2i.add(gdstk.Reference(via_25, (8.12,2.23)))
v2i.add(gdstk.Reference(nmoshv_8, (1.97,3.26)))
v2i.add(gdstk.Reference(nmoshv_8, (1.97,0.98)))
v2i.add(gdstk.Reference(via_27, (5.525,5.555), rotation=3*pi/2))
v2i.add(gdstk.Reference(via_25, (6.295,8.87)))
v2i.add(gdstk.Reference(via_26, (6.295,8.605)))
v2i.add(gdstk.Reference(via_25, (7.635,1.33)))
v2i.add(gdstk.Reference(via_26, (3.5,0)))
v2i.add(gdstk.Reference(nmoshv_8, (4.73,0.98)))
v2i.add(gdstk.Reference(via_27, (9.715,5.52), rotation=3*pi/2))
v2i.add(gdstk.Reference(via_26, (14.565,8.61)))
v2i.add(gdstk.Reference(via_22, (13.815,5.495)))
v2i.add(gdstk.Reference(via_25, (14.01,8.87)))
v2i.add(gdstk.Reference(via_27, (13.855,5.52), rotation=3*pi/2))
v2i.add(gdstk.Reference(via_28, (11.24,5.495)))
v2i.add(gdstk.Reference(nmoshv_8, (13.01,3.26)))
v2i.add(gdstk.Reference(via_23, (17.135,8.625)))
v2i.add(gdstk.Reference(nmoshv_8, (13.01,0.98)))
v2i.add(gdstk.Reference(via_25, (17.33,1.095)))
v2i.add(gdstk.Reference(via_25, (18.705,1.095)))
v2i.add(gdstk.Reference(via_26, (18.705,0)))
v2i.add(gdstk.Reference(via_25, (13.17,0)))
v2i.add(gdstk.Reference(via_25, (15.92,0)))
v2i.add(gdstk.Reference(via_25, (17.33,0)))
v2i.add(gdstk.Reference(via_25, (18.705,0)))
v2i.add(gdstk.Reference(via_27, (12.475,5.52), rotation=3*pi/2))
v2i.add(gdstk.Reference(via_26, (13.17,0)))
v2i.add(gdstk.Reference(via_25, (15.945,1.095)))
v2i.add(gdstk.Reference(via_26, (15.92,0)))
v2i.add(gdstk.Reference(via_27, (11.075,5.52), rotation=3*pi/2))
v2i.add(gdstk.Reference(via_25, (14.545,4.425)))
v2i.add(gdstk.Reference(nmoshv_8, (15.77,3.26)))
v2i.add(gdstk.Reference(nmoshv_8, (15.77,0.98)))
v2i.add(gdstk.Reference(via_27, (16.635,5.52), rotation=3*pi/2))
v2i.add(gdstk.Reference(via_27, (17.995,5.52), rotation=3*pi/2))
v2i.add(gdstk.Reference(via_25, (11.8,8.87)))
v2i.add(gdstk.Reference(via_26, (11.805,8.6)))
v2i.add(gdstk.Reference(via_23, (19.49,8.59)))
v2i.add(gdstk.Reference(via_27, (15.215,5.52), rotation=3*pi/2))
v2i.add(gdstk.Reference(via_26, (17.33,0)))
v2i.add(gdstk.Reference(via_23, (13.895,9.755)))
v2i.add(gdstk.Reference(via_25, (13.585,2.19)))
v2i.add(gdstk.Reference(via_25, (13.17,1.07)))
v2i.add(gdstk.Label('VDD', (21.955,20.01), layer=30, texttype=25))
v2i.add(gdstk.Label('out', (22.005,14.68), layer=30, texttype=25))
v2i.add(gdstk.Label('GND', (21.92,-0.015), layer=30, texttype=25))
v2i.add(gdstk.Label('inp_cm', (0.035,12.777), layer=30, texttype=25))
v2i.add(gdstk.Label('Vbias', (1.445,20.145), layer=50, texttype=25))
v2i.add(gdstk.Label('inn_cm', (3.06,20.09), layer=50, texttype=25))
v2i.add(gdstk.Label('Vm', (10.41,5.52), layer=8, texttype=25))
v2i.add(gdstk.Label('Vb', (9.22,14.14), layer=8, texttype=25))

lib.write_gds('V2I.gds')
